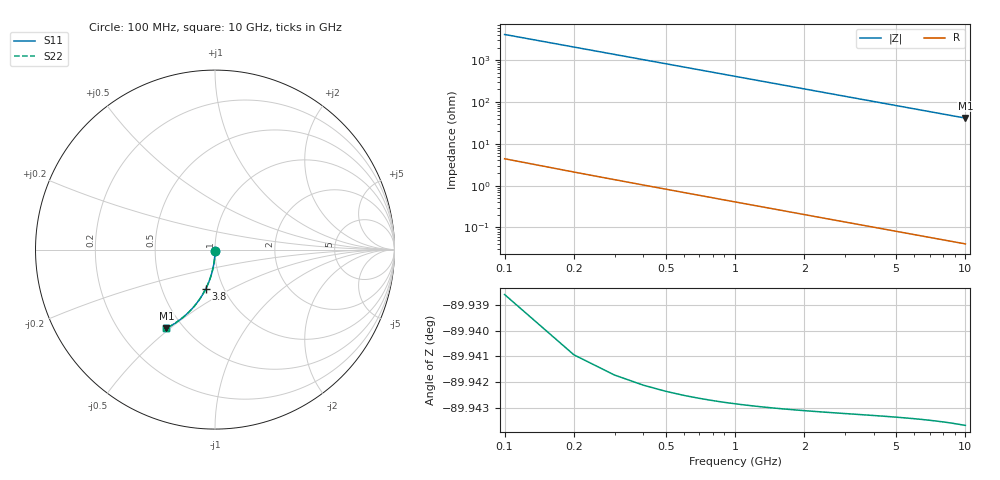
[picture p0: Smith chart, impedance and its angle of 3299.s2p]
# Hz S RI R 50.00
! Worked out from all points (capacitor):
!   100 points, 100 MHz to 10 GHz, reference 50 ohm
!   read as one part in shunt: C = 388 fF near 100 MHz
!   lowest |Z| = 41.2 ohm at 10 GHz (marker M1)
!   S11 on the Smith chart (normalised r, x): 100 MHz: 1.00, -0.01; 3.8 GHz: 0.82, -0.38; 10 GHz: 0.41, -0.48
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1e8  -2.66e-05 -0.00604  0.9999 -0.00616  0.9999 -0.00616  -2.66e-05 -0.00604
2e8  -0.000144 -0.0121  0.9998 -0.0123  0.9998 -0.0123  -0.000144 -0.0121
3e8  -0.000336 -0.0181  0.9996 -0.0185  0.9996 -0.0185  -0.000336 -0.0181
4e8  -0.000602 -0.0241  0.9994 -0.0246  0.9994 -0.0246  -0.000602 -0.0241
5e8  -0.000943 -0.0302  0.999 -0.0308  0.999 -0.0308  -0.000943 -0.0302
6e8  -0.00136 -0.0362  0.9986 -0.0369  0.9986 -0.0369  -0.00136 -0.0362
7e8  -0.00185 -0.0422  0.9981 -0.0431  0.9981 -0.0431  -0.00185 -0.0422
8e8  -0.00241 -0.0482  0.9976 -0.0492  0.9976 -0.0492  -0.00241 -0.0482
9e8  -0.00304 -0.0542  0.9969 -0.0553  0.9969 -0.0553  -0.00304 -0.0542
1.1e9  -0.00453 -0.0661  0.9954 -0.0675  0.9954 -0.0675  -0.00453 -0.0661
1.4e9  -0.00731 -0.0839  0.9927 -0.0856  0.9927 -0.0856  -0.00731 -0.0839
1.8e9  -0.012 -0.1074  0.988 -0.1096  0.988 -0.1096  -0.012 -0.1074
2.1e9  -0.0162 -0.1247  0.9837 -0.1273  0.9837 -0.1273  -0.0162 -0.1247
2.5e9  -0.0229 -0.1475  0.9771 -0.1505  0.9771 -0.1505  -0.0229 -0.1475
2.9e9  -0.0305 -0.1697  0.9695 -0.1733  0.9695 -0.1733  -0.0305 -0.1697
3.4e9  -0.0414 -0.1967  0.9586 -0.2009  0.9586 -0.2009  -0.0414 -0.1967
3.8e9  -0.0512 -0.2175  0.9488 -0.2222  0.9488 -0.2222  -0.0512 -0.2175
4.4e9  -0.0674 -0.2475  0.9326 -0.2529  0.9326 -0.2529  -0.0674 -0.2475
5.1e9  -0.0884 -0.2803  0.9115 -0.2866  0.9115 -0.2866  -0.0884 -0.2803
6.7e9  -0.1433 -0.3457  0.8567 -0.3541  0.8567 -0.3541  -0.1433 -0.3457
8.4e9  -0.208 -0.4001  0.7919 -0.4107  0.7919 -0.4107  -0.208 -0.4001
1e10  -0.2711 -0.4377  0.7288 -0.4504  0.7288 -0.4504  -0.2711 -0.4377
